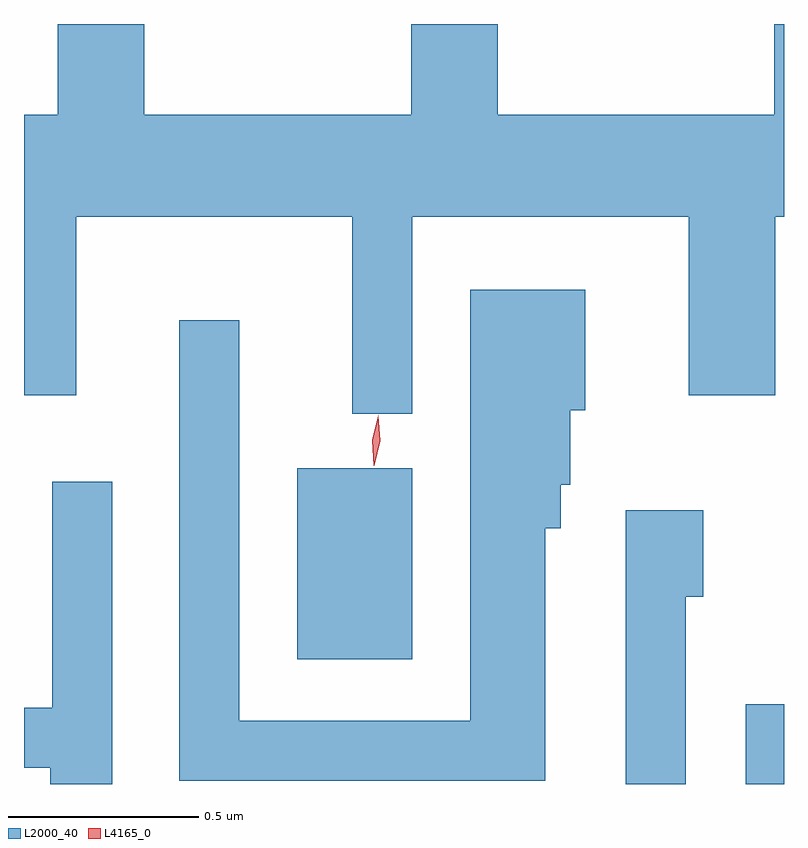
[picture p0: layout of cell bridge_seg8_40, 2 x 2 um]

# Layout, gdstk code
import gdstk
lib = gdstk.Library(unit=1e-6, precision=1e-09)
def R(c, l, rs):  # rectangles x0, y0, x1, y1
    for r in rs: c.add(gdstk.rectangle(r[:2], r[2:], *l))
def P(c, l, *ps):  # polygons
    for p in ps: c.add(gdstk.Polygon(p, *l))
L2000_40 = (2000, 40)
L4165_0 = (4165, 0)

bridge_seg8_40 = lib.new_cell('bridge_seg8_40')
R(bridge_seg8_40, L2000_40, [(1489.931,1879.323,1490.032,1879.533), (1488.751,1879.651,1489.054,1880.154)])
P(bridge_seg8_40, L2000_40, [(1489.054,1880.816),(1489.781,1880.816),(1489.781,1880.346),(1490.009,1880.346),(1490.009,1880.816),(1490.032,1880.816),(1490.032,1881.323),(1490.006,1881.323),(1490.006,1881.084),(1489.279,1881.084),(1489.279,1881.323),(1489.051,1881.323),(1489.051,1881.084),(1488.349,1881.084),(1488.349,1881.323),(1488.121,1881.323),(1488.121,1881.084),(1488.032,1881.084),(1488.032,1880.346),(1488.169,1880.346),(1488.169,1880.816),(1488.896,1880.816),(1488.896,1880.298),(1489.054,1880.298)],
  [(1489.404,1879.996),(1489.444,1879.996),(1489.444,1880.111),(1489.469,1880.111),(1489.469,1880.306),(1489.509,1880.306),(1489.509,1880.624),(1489.206,1880.624),(1489.206,1879.489),(1488.599,1879.489),(1488.599,1880.543),(1488.441,1880.543),(1488.441,1879.331),(1489.404,1879.331)],
  [(1488.264,1880.118),(1488.106,1880.118),(1488.106,1879.524),(1488.032,1879.524),(1488.032,1879.366),(1488.101,1879.366),(1488.101,1879.323),(1488.264,1879.323)],
  [(1489.774,1879.816),(1489.819,1879.816),(1489.819,1880.044),(1489.616,1880.044),(1489.616,1879.323),(1489.774,1879.323)])
P(bridge_seg8_40, L4165_0, [(1488.954,1880.16),(1488.953,1880.161),(1488.949,1880.227),(1488.964,1880.292),(1488.964,1880.293),(1488.964,1880.292),(1488.969,1880.226),(1488.954,1880.161)])

lib.write_gds('bridge_seg8_40.gds')
